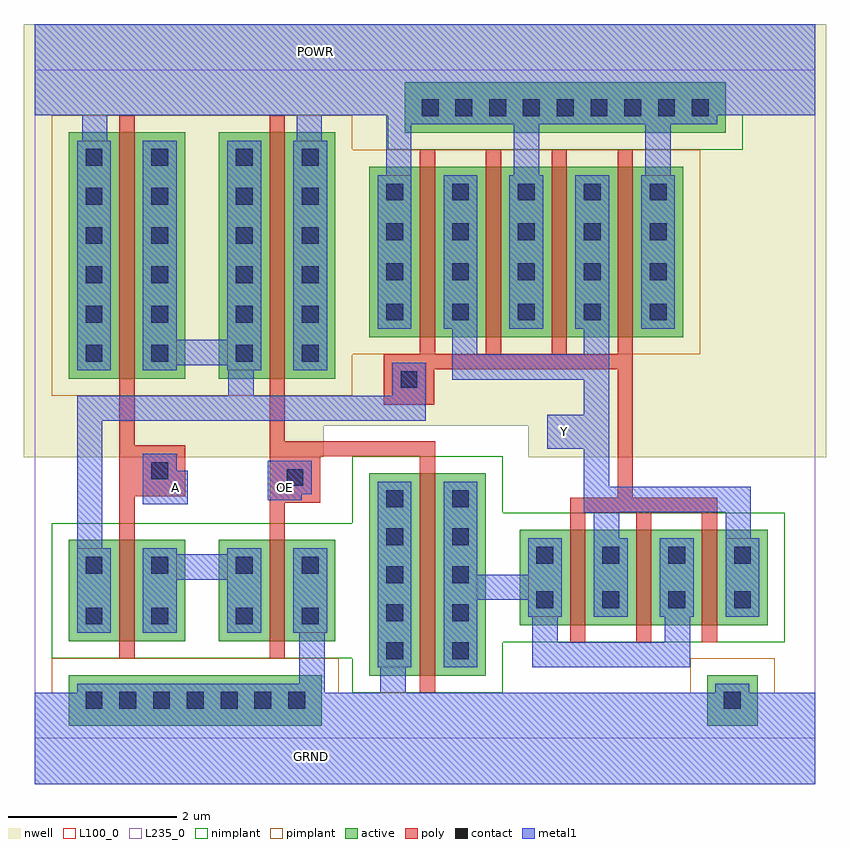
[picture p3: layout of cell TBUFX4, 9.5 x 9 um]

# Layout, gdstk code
import gdstk
lib = gdstk.Library(unit=1e-6, precision=1e-09)
def R(c, l, rs):  # rectangles x0, y0, x1, y1
    for r in rs: c.add(gdstk.rectangle(r[:2], r[2:], *l))
def A(c, l, x, y, w, h, nx, ny, dx, dy):  # array of equal rectangles
    R(c, l, [(x+i*dx, y+j*dy, x+i*dx+w, y+j*dy+h) for i in range(nx) for j in range(ny)])
def P(c, l, *ps):  # polygons
    for p in ps: c.add(gdstk.Polygon(p, *l))
active = (1, 0)
nwell = (2, 0)
poly = (3, 0)
nimplant = (4, 0)
pimplant = (5, 0)
contact = (6, 0)
metal1 = (7, 0)
L100_0 = (100, 0)
L235_0 = (235, 0)

tbufx4 = lib.new_cell('TBUFX4')
A(tbufx4, active, 5.74, 1.34, 0.6, 1.13, 4, 1, 0.78, 0)
A(tbufx4, active, 6.34, 1.34, 0.18, 1.13, 3, 1, 0.78, 0)
A(tbufx4, active, 3.96, 4.75, 0.6, 2.02, 5, 1, 0.78, 0)
A(tbufx4, active, 4.56, 4.75, 0.18, 2.02, 4, 1, 0.78, 0)
R(tbufx4, active, [(0.4,0.15,3.4,0.75), (7.96,0.15,8.56,0.75), (3.96,0.74,4.56,3.14), (4.56,0.74,4.74,3.14), (4.74,0.74,5.34,3.14), (0.4,1.15,1,2.35), (1,1.15,1.18,2.35), (1.18,1.15,1.78,2.35), (2.18,1.15,2.78,2.35), (2.78,1.15,2.96,2.35), (2.96,1.15,3.56,2.35), (0.4,4.26,1,7.18), (1,4.26,1.18,7.18), (1.18,4.26,1.78,7.18), (2.18,4.26,2.78,7.18), (2.78,4.26,2.96,7.18), (2.96,4.26,3.56,7.18), (4.38,7.17,8.18,7.77)])
R(tbufx4, nwell, [(-0.13,3.33,3.42,3.7), (5.84,3.33,9.37,3.71), (-0.13,3.7,9.37,8.46), (-0.1,3.76,2.28,7.68), (1.68,3.76,4.06,7.68), (3.46,4.25,8.18,7.27)])
A(tbufx4, poly, 6.34, 1.14, 0.18, 0.2, 3, 2, 0.78, 1.33)
A(tbufx4, poly, 6.34, 1.14, 0.18, 1.53, 3, 1, 0.78, 0)
A(tbufx4, poly, 4.56, 4.55, 0.18, 0.2, 4, 2, 0.78, 2.22)
A(tbufx4, poly, 4.56, 4.55, 0.18, 2.42, 4, 1, 0.78, 0)
R(tbufx4, poly, [(4.56,0.54,4.74,0.74), (4.56,0.54,4.74,3.34), (1,0.95,1.18,2.55), (1,0.95,1.18,1.15), (2.78,0.95,2.96,2.55), (2.78,0.95,2.96,1.15), (1,2.35,1.18,2.55), (2.78,2.35,2.96,2.55), (2.78,2.79,3.38,3.39), (1.18,2.87,1.78,3.47), (4.56,3.14,4.74,3.34), (4.13,3.95,4.73,4.55), (1,4.06,1.18,4.26), (1,4.06,1.18,7.38), (2.78,4.06,2.96,4.26), (2.78,4.06,2.96,7.38), (1,7.18,1.18,7.38), (2.78,7.18,2.96,7.38)])
R(tbufx4, nimplant, [(3.76,0.54,5.54,3.34), (0.2,0.95,1.98,2.55), (1.98,0.95,3.76,2.55), (5.54,1.14,8.88,2.67)])
P(tbufx4, nimplant, [(9.24,8.46),(0,8.46),(0,7.38),(4.18,7.38),(4.18,6.97),(8.38,6.97),(8.38,7.38),(9.24,7.38)])
R(tbufx4, pimplant, [(7.76,-0.05,8.76,0.95), (0.2,4.06,1.98,7.38), (1.98,4.06,3.76,7.38), (3.76,4.55,7.88,6.97)])
P(tbufx4, pimplant, [(9.24,0.54),(3.6,0.54),(3.6,0.95),(0.2,0.95),(0.2,0.54),(0,0.54),(0,-0.54),(9.24,-0.54)])
A(tbufx4, contact, 0.6, 0.35, 0.2, 0.2, 7, 1, 0.4, 0)
A(tbufx4, contact, 4.16, 0.94, 0.2, 0.2, 1, 5, 0, 0.45)
A(tbufx4, contact, 4.94, 0.94, 0.2, 0.2, 1, 5, 0, 0.45)
A(tbufx4, contact, 5.94, 1.54, 0.2, 0.2, 4, 2, 0.78, 0.53)
A(tbufx4, contact, 0.6, 4.46, 0.2, 0.2, 1, 5, 0, 0.465)
A(tbufx4, contact, 1.38, 4.46, 0.2, 0.2, 1, 5, 0, 0.465)
A(tbufx4, contact, 2.38, 4.46, 0.2, 0.2, 1, 5, 0, 0.465)
A(tbufx4, contact, 3.16, 4.46, 0.2, 0.2, 1, 5, 0, 0.465)
A(tbufx4, contact, 4.16, 4.95, 0.2, 0.2, 5, 3, 0.78, 0.475)
A(tbufx4, contact, 4.16, 6.37, 0.2, 0.2, 5, 1, 0.78, 0)
A(tbufx4, contact, 4.58, 7.37, 0.2, 0.2, 9, 1, 0.4, 0)
R(tbufx4, contact, [(0.6,0.35,0.8,0.55), (8.16,0.35,8.36,0.55), (0.6,1.35,0.8,1.55), (1.38,1.35,1.58,1.55), (2.38,1.35,2.58,1.55), (3.16,1.35,3.36,1.55), (0.6,1.95,0.8,2.15), (1.38,1.95,1.58,2.15), (2.38,1.95,2.58,2.15), (3.16,1.95,3.36,2.15), (2.98,2.99,3.18,3.19), (1.38,3.07,1.58,3.27), (4.33,4.15,4.53,4.35), (0.6,6.78,0.8,6.98), (1.38,6.78,1.58,6.98), (2.38,6.78,2.58,6.98), (3.16,6.78,3.36,6.98)])
R(tbufx4, metal1, [(0,-0.54,9.24,0.54), (0.5,0.25,3.3,0.65), (8.06,0.25,8.46,0.65), (1.51,2.82,1.81,3.12), (2.82,2.82,3.12,3.12), (2.88,2.89,3.28,3.29), (1.28,2.97,1.68,3.37), (6.12,3.48,6.42,3.78), (4.23,4.05,4.63,4.45), (4.48,7.27,8.08,7.67), (0,7.38,9.24,8.46)])
R(tbufx4, L100_0, [(4.06,0.84,4.46,3.04), (4.84,0.84,5.24,3.04), (0.5,1.25,0.9,2.25), (1.28,1.25,1.68,2.25), (2.28,1.25,2.68,2.25), (3.06,1.25,3.46,2.25), (5.84,1.44,6.24,2.37), (8.18,1.44,8.58,2.37), (0.5,4.36,0.9,7.08), (1.28,4.36,1.68,7.08), (2.28,4.36,2.68,7.08), (3.06,4.36,3.46,7.08), (4.06,4.85,4.46,6.67), (7.18,4.85,7.58,6.67)])
R(tbufx4, L235_0, [(0,0,9.24,7.92)])
tbufx4.add(gdstk.FlexPath([(6.34,2.76),(8.08,2.76)], 0.18, ends="flush", simple_path=True, layer=3, datatype=0))  # poly
tbufx4.add(gdstk.FlexPath([(6.99,4.37),(6.99,2.85)], 0.18, ends="flush", simple_path=True, layer=3, datatype=0))  # poly
tbufx4.add(gdstk.FlexPath([(4.56,4.46),(7.08,4.46)], 0.18, ends="flush", simple_path=True, layer=3, datatype=0))  # poly
tbufx4.add(gdstk.FlexPath([(2.87,4.07),(2.87,2.55)], 0.18, ends="flush", simple_path=True, layer=3, datatype=0))  # poly
tbufx4.add(gdstk.FlexPath([(2.96,3.43),(4.74,3.43)], 0.18, ends="flush", simple_path=True, layer=3, datatype=0))  # poly
tbufx4.add(gdstk.FlexPath([(1.09,4.08),(1.09,2.54)], 0.18, ends="flush", simple_path=True, layer=3, datatype=0))  # poly
tbufx4.add(gdstk.FlexPath([(0.7,1.25),(0.7,2.25)], 0.4, ends="flush", simple_path=True, layer=7, datatype=0))  # metal1
tbufx4.add(gdstk.FlexPath([(1.48,1.25),(1.48,2.25)], 0.4, ends="flush", simple_path=True, layer=7, datatype=0))  # metal1
tbufx4.add(gdstk.FlexPath([(2.48,1.25),(2.48,2.25)], 0.4, ends="flush", simple_path=True, layer=7, datatype=0))  # metal1
tbufx4.add(gdstk.FlexPath([(3.26,1.25),(3.26,2.25)], 0.4, ends="flush", simple_path=True, layer=7, datatype=0))  # metal1
tbufx4.add(gdstk.FlexPath([(4.26,0.84),(4.26,3.04)], 0.4, ends="flush", simple_path=True, layer=7, datatype=0))  # metal1
tbufx4.add(gdstk.FlexPath([(5.04,0.84),(5.04,3.04)], 0.4, ends="flush", simple_path=True, layer=7, datatype=0))  # metal1
tbufx4.add(gdstk.FlexPath([(6.04,1.44),(6.04,2.37)], 0.4, ends="flush", simple_path=True, layer=7, datatype=0))  # metal1
tbufx4.add(gdstk.FlexPath([(6.82,1.44),(6.82,2.37)], 0.4, ends="flush", simple_path=True, layer=7, datatype=0))  # metal1
tbufx4.add(gdstk.FlexPath([(7.6,1.44),(7.6,2.37)], 0.4, ends="flush", simple_path=True, layer=7, datatype=0))  # metal1
tbufx4.add(gdstk.FlexPath([(8.38,1.44),(8.38,2.37)], 0.4, ends="flush", simple_path=True, layer=7, datatype=0))  # metal1
tbufx4.add(gdstk.FlexPath([(1.81,2.97),(1.28,2.97)], 0.4, ends="flush", simple_path=True, layer=7, datatype=0))  # metal1
tbufx4.add(gdstk.FlexPath([(1.67,2.03),(2.28,2.03)], 0.3, ends="flush", simple_path=True, layer=7, datatype=0))  # metal1
tbufx4.add(gdstk.FlexPath([(0.65,2.23),(0.65,3.91),(2.29,3.91)], 0.3, ends="flush", simple_path=True, layer=7, datatype=0))  # metal1
tbufx4.add(gdstk.FlexPath([(5.22,1.79),(5.9,1.79)], 0.3, ends="flush", simple_path=True, layer=7, datatype=0))  # metal1
tbufx4.add(gdstk.FlexPath([(6.77,2.36),(6.77,2.83),(8.33,2.83),(8.33,2.36)], 0.3, ends="flush", simple_path=True, layer=7, datatype=0))  # metal1
tbufx4.add(gdstk.FlexPath([(2.96,2.82),(2.96,3.29)], 0.4, ends="flush", simple_path=True, layer=7, datatype=0))  # metal1
tbufx4.add(gdstk.FlexPath([(4.31,6.62),(4.31,7.38)], 0.3, ends="flush", simple_path=True, layer=7, datatype=0))  # metal1
tbufx4.add(gdstk.FlexPath([(1.68,4.57),(2.28,4.57)], 0.3, ends="flush", simple_path=True, layer=7, datatype=0))  # metal1
tbufx4.add(gdstk.FlexPath([(4.48,7.42),(4.16,7.42)], 0.3, ends="flush", simple_path=True, layer=7, datatype=0))  # metal1
tbufx4.add(gdstk.FlexPath([(5.09,4.86),(5.09,4.4),(6.65,4.4),(6.65,4.85)], 0.3, ends="flush", simple_path=True, layer=7, datatype=0))  # metal1
tbufx4.add(gdstk.FlexPath([(6.04,1.44),(6.04,0.99),(7.61,0.99),(7.61,1.44)], 0.3, ends="flush", simple_path=True, layer=7, datatype=0))  # metal1
tbufx4.add(gdstk.FlexPath([(4.24,0.88),(4.24,0.43)], 0.3, ends="flush", simple_path=True, layer=7, datatype=0))  # metal1
tbufx4.add(gdstk.FlexPath([(3.25,7.07),(3.25,7.4)], 0.3, ends="flush", simple_path=True, layer=7, datatype=0))  # metal1
tbufx4.add(gdstk.FlexPath([(0.71,7.07),(0.71,7.38)], 0.3, ends="flush", simple_path=True, layer=7, datatype=0))  # metal1
tbufx4.add(gdstk.FlexPath([(6.65,4.25),(6.65,2.67)], 0.3, ends="flush", simple_path=True, layer=7, datatype=0))  # metal1
tbufx4.add(gdstk.FlexPath([(6.5,3.63),(6.07,3.63)], 0.4, ends="flush", simple_path=True, layer=7, datatype=0))  # metal1
tbufx4.add(gdstk.FlexPath([(5.82,6.64),(5.82,7.34)], 0.3, ends="flush", simple_path=True, layer=7, datatype=0))  # metal1
tbufx4.add(gdstk.FlexPath([(7.38,6.64),(7.38,7.38)], 0.3, ends="flush", simple_path=True, layer=7, datatype=0))  # metal1
tbufx4.add(gdstk.FlexPath([(2.44,4.38),(2.44,3.91),(4.63,3.91)], 0.3, ends="flush", simple_path=True, layer=7, datatype=0))  # metal1
tbufx4.add(gdstk.FlexPath([(3.28,1.26),(3.28,0.5)], 0.3, ends="flush", simple_path=True, layer=7, datatype=0))  # metal1
tbufx4.add(gdstk.FlexPath([(7.38,4.85),(7.38,6.67)], 0.4, ends="flush", simple_path=True, layer=7, datatype=0))  # metal1
tbufx4.add(gdstk.FlexPath([(6.6,4.85),(6.6,6.67)], 0.4, ends="flush", simple_path=True, layer=7, datatype=0))  # metal1
tbufx4.add(gdstk.FlexPath([(5.82,4.85),(5.82,6.67)], 0.4, ends="flush", simple_path=True, layer=7, datatype=0))  # metal1
tbufx4.add(gdstk.FlexPath([(5.04,4.85),(5.04,6.67)], 0.4, ends="flush", simple_path=True, layer=7, datatype=0))  # metal1
tbufx4.add(gdstk.FlexPath([(4.26,4.85),(4.26,6.67)], 0.4, ends="flush", simple_path=True, layer=7, datatype=0))  # metal1
tbufx4.add(gdstk.FlexPath([(3.26,4.36),(3.26,7.08)], 0.4, ends="flush", simple_path=True, layer=7, datatype=0))  # metal1
tbufx4.add(gdstk.FlexPath([(2.48,4.36),(2.48,7.08)], 0.4, ends="flush", simple_path=True, layer=7, datatype=0))  # metal1
tbufx4.add(gdstk.FlexPath([(1.48,4.36),(1.48,7.08)], 0.4, ends="flush", simple_path=True, layer=7, datatype=0))  # metal1
tbufx4.add(gdstk.FlexPath([(0.7,4.36),(0.7,7.08)], 0.4, ends="flush", simple_path=True, layer=7, datatype=0))  # metal1
tbufx4.add(gdstk.Label('OE', (2.97,2.97), layer=230, texttype=0))
tbufx4.add(gdstk.Label('POWR', (3.32,8.14), layer=230, texttype=0))
tbufx4.add(gdstk.Label('A', (1.66,2.97), layer=230, texttype=0))
tbufx4.add(gdstk.Label('GRND', (3.28,-0.21), layer=230, texttype=0))
tbufx4.add(gdstk.Label('Y', (6.27,3.63), layer=230, texttype=0))

lib.write_gds('TBUFX4.gds')
